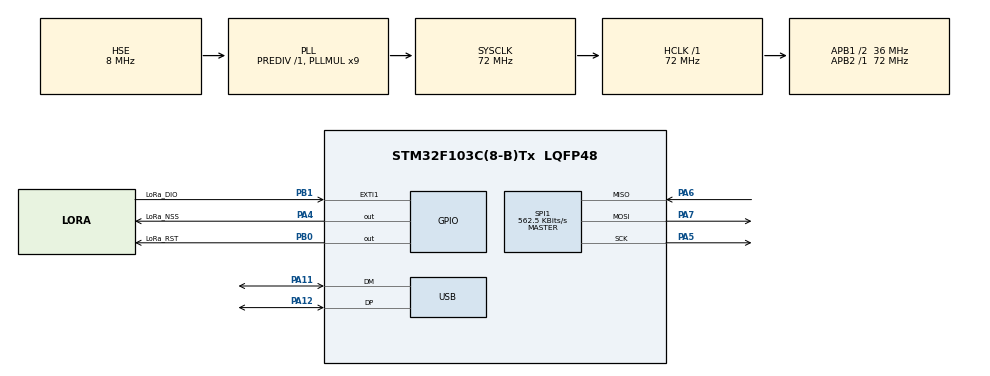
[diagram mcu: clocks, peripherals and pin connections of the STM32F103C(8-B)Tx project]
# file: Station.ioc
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Mcu.Family=STM32F1
Mcu.Name=STM32F103C(8-B)Tx
Mcu.Package=LQFP48
NVIC.EXTI1_IRQn=true\:0\:0\:false\:false\:true\:true\:true
NVIC.PriorityGroup=NVIC_PRIORITYGROUP_4
NVIC.USB_LP_CAN1_RX0_IRQn=true\:0\:0\:false\:false\:true\:false\:true
PA11.Mode=Device
PA11.Signal=USB_DM
PA12.Mode=Device
PA12.Signal=USB_DP
PA13.Mode=Trace_Asynchronous_SW
PA13.Signal=SYS_JTMS-SWDIO
PA14.Mode=Trace_Asynchronous_SW
PA14.Signal=SYS_JTCK-SWCLK
PA4.GPIO_Label=LoRa_NSS
PA4.Signal=GPIO_Output
PA5.Mode=Full_Duplex_Master
PA5.Signal=SPI1_SCK
PA6.Mode=Full_Duplex_Master
PA6.Signal=SPI1_MISO
PA7.Mode=Full_Duplex_Master
PA7.Signal=SPI1_MOSI
PB0.GPIO_Label=LoRa_RST
PB0.Signal=GPIO_Output
PB1.GPIO_Label=LoRa_DIO
PB1.GPIO_ModeDefaultEXTI=GPIO_MODE_IT_RISING
PB1.Signal=GPXTI1
PB3.Mode=Trace_Asynchronous_SW
PB3.Signal=SYS_JTDO-TRACESWO
PD0-OSC_IN.Mode=HSE-External-Oscillator
PD0-OSC_IN.Signal=RCC_OSC_IN
PD1-OSC_OUT.Mode=HSE-External-Oscillator
PD1-OSC_OUT.Signal=RCC_OSC_OUT
ProjectManager.HeapSize=0x200
ProjectManager.StackSize=0x400
ProjectManager.TargetToolchain=STM32CubeIDE
RCC.AHBFreq_Value=72000000
RCC.APB1CLKDivider=RCC_HCLK_DIV2
RCC.APB1Freq_Value=36000000
RCC.APB1TimFreq_Value=72000000
RCC.APB2Freq_Value=72000000
RCC.APB2TimFreq_Value=72000000
RCC.HCLKFreq_Value=72000000
RCC.PLLMUL=RCC_PLL_MUL9
RCC.SYSCLKFreq_VALUE=72000000
RCC.SYSCLKSource=RCC_SYSCLKSOURCE_PLLCLK
RCC.USBFreq_Value=48000000
RCC.USBPrescaler=RCC_USBCLKSOURCE_PLL_DIV1_5
SPI1.BaudRatePrescaler=SPI_BAUDRATEPRESCALER_128
SPI1.CalculateBaudRate=562.5 KBits/s
SPI1.Direction=SPI_DIRECTION_2LINES
SPI1.Mode=SPI_MODE_MASTER
SPI1.VirtualType=VM_MASTER
USB_DEVICE.CLASS_NAME_FS=CDC
USB_DEVICE.MANUFACTURER_STRING=JMDMahdi
USB_DEVICE.PID_CDC_FS=63322
USB_DEVICE.PRODUCT_STRING_CDC_FS=Weather Station Receiver
USB_DEVICE.VID=5511
USB_DEVICE.VirtualMode=Cdc
USB_DEVICE.VirtualModeFS=Cdc_FS
VP_USB_DEVICE_VS_USB_DEVICE_CDC_FS.Mode=CDC_FS
board=custom

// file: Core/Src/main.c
/* USER CODE BEGIN Header */
/**
 ******************************************************************************
 * @file           : main.c
 * @brief          : Main program body
 ******************************************************************************
 * @attention
 *
 * <h2><center>&copy; Copyright (c) 2020 STMicroelectronics.
 * All rights reserved.</center></h2>
 *
 * This software component is licensed by ST under BSD 3-Clause license,
 * the "License"; You may not use this file except in compliance with the
 * License. You may obtain a copy of the License at:
 *                        opensource.org/licenses/BSD-3-Clause
 *
 ******************************************************************************
 */
/* USER CODE END Header */

#include "main.h"
#include "usb_device.h"

/* USER CODE BEGIN Includes */
#include <stdlib.h>
#include <string.h>
#include <math.h>
#include "usbd_cdc_if.h"
#include "SX1278.h"
/* USER CODE END Includes */

/* USER CODE BEGIN PD */

// LoRa device id
#define DEVICE_ID 65535

/* USER CODE END PD */

SPI_HandleTypeDef hspi1;

/* USER CODE BEGIN PV */
uint8_t LoRa_Len;
uint8_t Buffer[32];
float RXData[8];
SX1278_hw_t SX1278_hw;
SX1278_t SX1278;
/* USER CODE END PV */

void SystemClock_Config(void);
static void MX_GPIO_Init(void);
static void MX_SPI1_Init(void);

int main(void) {

	/* MCU Configuration--------------------------------------------------------*/

	/* Reset of all peripherals, Initializes the Flash interface and the Systick. */
	HAL_Init();

	/* Configure the system clock */
	SystemClock_Config();

	/* Initialize all configured peripherals */
	MX_GPIO_Init();
	MX_SPI1_Init();
	MX_USB_DEVICE_Init();
	/* USER CODE BEGIN 2 */

	// Initialize LoRa
	SX1278_hw.dio0.port = LoRa_DIO_GPIO_Port;
	SX1278_hw.dio0.pin = LoRa_DIO_Pin;
	SX1278_hw.nss.port = LoRa_NSS_GPIO_Port;
	SX1278_hw.nss.pin = LoRa_NSS_Pin;
	SX1278_hw.reset.port = LoRa_RST_GPIO_Port;
	SX1278_hw.reset.pin = LoRa_RST_Pin;
	SX1278_hw.spi = &hspi1;
	SX1278.hw = &SX1278_hw;
	SX1278_begin(&SX1278, SX1278_433MHZ, SX1278_POWER_20DBM, SX1278_LORA_SF_10,
			SX1278_LORA_BW_250KHZ, 32);

	// Set LoRa on Continuous RX mode
	SX1278_LoRaEntryRx(&SX1278, 32, 2000);

	/* USER CODE END 2 */

	/* Infinite loop */
	/* USER CODE BEGIN WHILE */
	while (1) {
		/* After waking up from sleep or powerup */

		// Check if is there any data received on LoRa
		LoRa_Len = SX1278_LoRaRxPacket(&SX1278);
		while (LoRa_Len > 0) { // Read received data while data present
			// Read data
			SX1278_read(&SX1278, Buffer, LoRa_Len);
			// convert to float array to check receiver device id before sending over USB
			memcpy(RXData, Buffer, sizeof(Buffer));
			/**
			 * RXData is as follow:
			 * RXData[0]: Sender device id
			 * RXData[1]: Receiver device id
			 * RXData[2]: Temperature
			 * RXData[3]: Pressure
			 * RXData[4]: Light intensity
			 * RXData[5]: Humidity
			 * RXData[6]: Wind speed
			 * RXData[7]: Wind direction
			 */
			// Check if receiver device id matches with this device and ignore data if not
			if ((uint16_t) RXData[1] == DEVICE_ID) {
				// Send received data over USB
				CDC_Transmit_FS(Buffer, sizeof(Buffer));
			}

			// Recheck if data present
			LoRa_Len = SX1278_LoRaRxPacket(&SX1278);
		}

		// Sleep until interrupt accrued
		HAL_SuspendTick();
		HAL_PWR_EnterSLEEPMode(PWR_LOWPOWERREGULATOR_ON, PWR_SLEEPENTRY_WFI);

		/* USER CODE END WHILE */

	}
}

void SystemClock_Config(void) {
	RCC_OscInitTypeDef RCC_OscInitStruct = { 0 };
	RCC_ClkInitTypeDef RCC_ClkInitStruct = { 0 };
	RCC_PeriphCLKInitTypeDef PeriphClkInit = { 0 };

	/** Initializes the CPU, AHB and APB busses clocks
	 */
	RCC_OscInitStruct.OscillatorType = RCC_OSCILLATORTYPE_HSE;
	RCC_OscInitStruct.HSEState = RCC_HSE_ON;
	RCC_OscInitStruct.HSEPredivValue = RCC_HSE_PREDIV_DIV1;
	RCC_OscInitStruct.HSIState = RCC_HSI_ON;
	RCC_OscInitStruct.PLL.PLLState = RCC_PLL_ON;
	RCC_OscInitStruct.PLL.PLLSource = RCC_PLLSOURCE_HSE;
	RCC_OscInitStruct.PLL.PLLMUL = RCC_PLL_MUL9;
	if (HAL_RCC_OscConfig(&RCC_OscInitStruct) != HAL_OK) {
		Error_Handler();
	}
	/** Initializes the CPU, AHB and APB busses clocks
	 */
	RCC_ClkInitStruct.ClockType = RCC_CLOCKTYPE_HCLK | RCC_CLOCKTYPE_SYSCLK
			| RCC_CLOCKTYPE_PCLK1 | RCC_CLOCKTYPE_PCLK2;
	RCC_ClkInitStruct.SYSCLKSource = RCC_SYSCLKSOURCE_PLLCLK;
	RCC_ClkInitStruct.AHBCLKDivider = RCC_SYSCLK_DIV1;
	RCC_ClkInitStruct.APB1CLKDivider = RCC_HCLK_DIV2;
	RCC_ClkInitStruct.APB2CLKDivider = RCC_HCLK_DIV1;

	if (HAL_RCC_ClockConfig(&RCC_ClkInitStruct, FLASH_LATENCY_2) != HAL_OK) {
		Error_Handler();
	}
	PeriphClkInit.PeriphClockSelection = RCC_PERIPHCLK_USB;
	PeriphClkInit.UsbClockSelection = RCC_USBCLKSOURCE_PLL_DIV1_5;
	if (HAL_RCCEx_PeriphCLKConfig(&PeriphClkInit) != HAL_OK) {
		Error_Handler();
	}
}

static void MX_SPI1_Init(void) {

	/* SPI1 parameter configuration*/
	hspi1.Instance = SPI1;
	hspi1.Init.Mode = SPI_MODE_MASTER;
	hspi1.Init.Direction = SPI_DIRECTION_2LINES;
	hspi1.Init.DataSize = SPI_DATASIZE_8BIT;
	hspi1.Init.CLKPolarity = SPI_POLARITY_LOW;
	hspi1.Init.CLKPhase = SPI_PHASE_1EDGE;
	hspi1.Init.NSS = SPI_NSS_SOFT;
	hspi1.Init.BaudRatePrescaler = SPI_BAUDRATEPRESCALER_128;
	hspi1.Init.FirstBit = SPI_FIRSTBIT_MSB;
	hspi1.Init.TIMode = SPI_TIMODE_DISABLE;
	hspi1.Init.CRCCalculation = SPI_CRCCALCULATION_DISABLE;
	hspi1.Init.CRCPolynomial = 10;
	if (HAL_SPI_Init(&hspi1) != HAL_OK) {
		Error_Handler();
	}

}

static void MX_GPIO_Init(void) {
	GPIO_InitTypeDef GPIO_InitStruct = { 0 };

	/* GPIO Ports Clock Enable */
	__HAL_RCC_GPIOD_CLK_ENABLE();
	__HAL_RCC_GPIOA_CLK_ENABLE();
	__HAL_RCC_GPIOB_CLK_ENABLE();

	/*Configure GPIO pin Output Level */
	HAL_GPIO_WritePin(LoRa_NSS_GPIO_Port, LoRa_NSS_Pin, GPIO_PIN_RESET);

	/*Configure GPIO pin Output Level */
	HAL_GPIO_WritePin(LoRa_RST_GPIO_Port, LoRa_RST_Pin, GPIO_PIN_RESET);

	/*Configure GPIO pin : LoRa_NSS_Pin */
	GPIO_InitStruct.Pin = LoRa_NSS_Pin;
	GPIO_InitStruct.Mode = GPIO_MODE_OUTPUT_PP;
	GPIO_InitStruct.Pull = GPIO_NOPULL;
	GPIO_InitStruct.Speed = GPIO_SPEED_FREQ_LOW;
	HAL_GPIO_Init(LoRa_NSS_GPIO_Port, &GPIO_InitStruct);

	/*Configure GPIO pin : LoRa_RST_Pin */
	GPIO_InitStruct.Pin = LoRa_RST_Pin;
	GPIO_InitStruct.Mode = GPIO_MODE_OUTPUT_PP;
	GPIO_InitStruct.Pull = GPIO_NOPULL;
	GPIO_InitStruct.Speed = GPIO_SPEED_FREQ_LOW;
	HAL_GPIO_Init(LoRa_RST_GPIO_Port, &GPIO_InitStruct);

	/*Configure GPIO pin : LoRa_DIO_Pin */
	GPIO_InitStruct.Pin = LoRa_DIO_Pin;
	GPIO_InitStruct.Mode = GPIO_MODE_IT_RISING;
	GPIO_InitStruct.Pull = GPIO_NOPULL;
	HAL_GPIO_Init(LoRa_DIO_GPIO_Port, &GPIO_InitStruct);

	/* EXTI interrupt init*/
	HAL_NVIC_SetPriority(EXTI1_IRQn, 0, 0);
	HAL_NVIC_EnableIRQ(EXTI1_IRQn);

}

/* USER CODE BEGIN 4 */

/**
 * @brief On external interrupt accrued this function will be called.
 * @param GPIO_Pin
 * @retval None
 */
void HAL_GPIO_EXTI_Callback(uint16_t GPIO_Pin) {
	// Check if interrupt is from LoRa DIO
	if (GPIO_Pin == GPIO_PIN_1) {
		// Enable tick
		HAL_ResumeTick();
	}
}

/* USER CODE END 4 */

void Error_Handler(void) {
}

/************************ (C) COPYRIGHT STMicroelectronics *****END OF FILE****/
